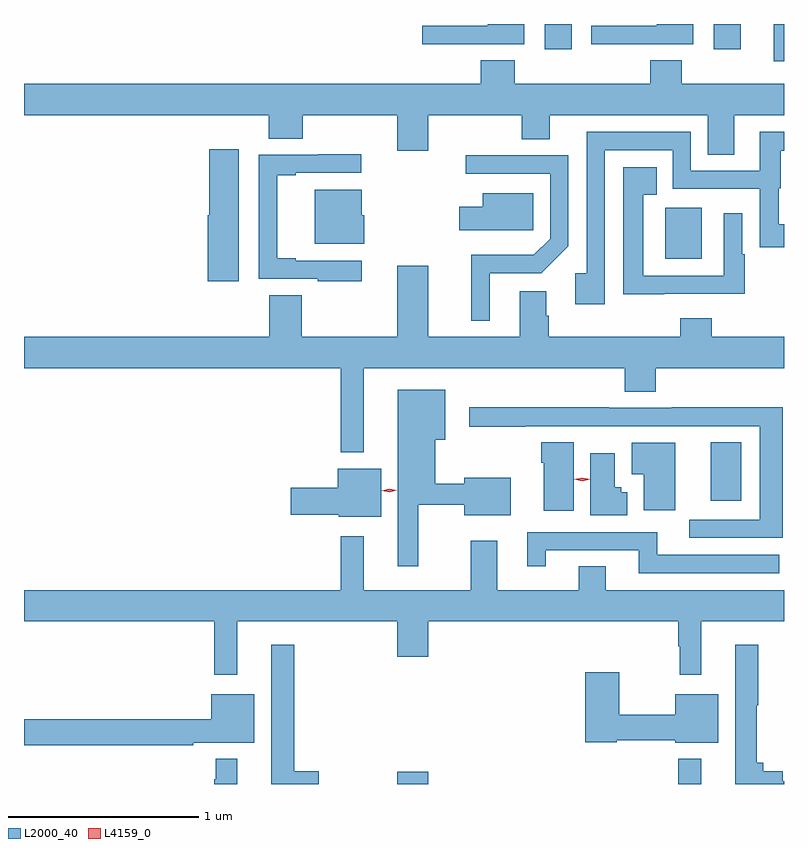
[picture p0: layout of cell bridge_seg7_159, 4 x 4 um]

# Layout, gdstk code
import gdstk
lib = gdstk.Library(unit=1e-6, precision=1e-09)
def R(c, l, rs):  # rectangles x0, y0, x1, y1
    for r in rs: c.add(gdstk.rectangle(r[:2], r[2:], *l))
def P(c, l, *ps):  # polygons
    for p in ps: c.add(gdstk.Polygon(p, *l))
L2000_40 = (2000, 40)
L4159_0 = (4159, 0)

bridge_seg7_159 = lib.new_cell('bridge_seg7_159')
R(bridge_seg7_159, L2000_40, [(476.696,1074.351,476.86,1074.415), (478.176,1074.351,478.297,1074.484), (478.346,1075.842,478.507,1076.15), (478.106,1077.116,478.3,1077.384), (478.679,1078.155,478.732,1078.351), (477.473,1078.218,477.616,1078.351), (478.361,1078.218,478.504,1078.351)])
P(bridge_seg7_159, L2000_40, [(477.944,1078.245),(478.254,1078.245),(478.254,1078.351),(478.061,1078.351),(478.061,1078.341),(477.717,1078.341),(477.717,1078.244),(477.944,1078.244)],
  [(477.053,1078.245),(477.366,1078.245),(477.366,1078.351),(477.173,1078.351),(477.173,1078.341),(476.829,1078.341),(476.829,1078.244),(477.053,1078.244)],
  [(474.732,1077.872),(476.021,1077.872),(476.021,1077.748),(476.198,1077.748),(476.198,1077.872),(476.696,1077.872),(476.696,1077.684),(476.86,1077.684),(476.86,1077.872),(477.352,1077.872),(477.352,1077.745),(477.499,1077.745),(477.499,1077.872),(478.331,1077.872),(478.331,1077.664),(478.471,1077.664),(478.471,1077.872),(478.732,1077.872),(478.732,1078.036),(478.194,1078.036),(478.194,1078.16),(478.028,1078.16),(478.028,1078.036),(477.314,1078.036),(477.314,1078.16),(477.137,1078.16),(477.137,1078.036),(474.732,1078.036)],
  [(477.789,1077.687),(478.146,1077.687),(478.146,1077.483),(478.605,1077.483),(478.605,1077.177),(478.732,1077.177),(478.732,1077.298),(478.704,1077.298),(478.704,1077.486),(478.714,1077.486),(478.714,1077.685),(478.732,1077.685),(478.732,1077.783),(478.604,1077.783),(478.604,1077.579),(478.242,1077.579),(478.242,1077.783),(477.693,1077.783),(477.693,1077.038),(477.633,1077.038),(477.633,1076.877),(477.789,1076.877)],
  [(475.861,1077.691),(475.706,1077.691),(475.706,1077.345),(475.7,1077.345),(475.7,1076.997),(475.861,1076.997)],
  [(476.509,1077.105),(476.161,1077.105),(476.161,1077.118),(476.066,1077.118),(476.066,1077.555),(476.161,1077.555),(476.161,1077.567),(476.506,1077.567),(476.506,1077.665),(476.281,1077.665),(476.281,1077.663),(475.968,1077.663),(475.968,1077.009),(476.278,1077.009),(476.278,1076.997),(476.509,1076.997)],
  [(477.184,1077.039),(477.454,1077.039),(477.597,1077.182),(477.597,1077.66),(477.057,1077.66),(477.057,1077.564),(477.501,1077.564),(477.501,1077.222),(477.415,1077.136),(477.085,1077.136),(477.085,1076.79),(477.184,1076.79)],
  [(478.103,1076.931),(478.525,1076.931),(478.525,1077.138),(478.512,1077.138),(478.512,1077.355),(478.416,1077.355),(478.416,1077.027),(477.991,1077.027),(477.991,1077.452),(478.061,1077.452),(478.061,1077.598),(477.887,1077.598),(477.887,1076.929),(478.103,1076.929)],
  [(476.524,1077.345),(476.509,1077.345),(476.509,1077.478),(476.261,1077.478),(476.261,1077.194),(476.524,1077.194)],
  [(477.411,1077.46),(477.146,1077.46),(477.146,1077.388),(477.024,1077.388),(477.024,1077.266),(477.411,1077.266)],
  [(476.521,1076.54),(477.893,1076.54),(477.893,1076.416),(478.058,1076.416),(478.058,1076.54),(478.732,1076.54),(478.732,1076.704),(478.352,1076.704),(478.352,1076.803),(478.187,1076.803),(478.187,1076.704),(477.494,1076.704),(477.494,1076.816),(477.481,1076.816),(477.481,1076.944),(477.341,1076.944),(477.341,1076.704),(476.86,1076.704),(476.86,1077.079),(476.696,1077.079),(476.696,1076.704),(476.195,1076.704),(476.195,1076.924),(476.024,1076.924),(476.024,1076.704),(474.732,1076.704),(474.732,1076.54),(476.4,1076.54),(476.4,1076.096),(476.521,1076.096)],
  [(476.806,1075.821),(477.05,1075.821),(477.05,1075.766),(477.295,1075.766),(477.295,1075.963),(477.05,1075.963),(477.05,1075.932),(476.896,1075.932),(476.896,1076.162),(476.95,1076.162),(476.95,1076.425),(476.699,1076.425),(476.699,1075.497),(476.806,1075.497)],
  [(478.726,1076.333),(478.141,1076.333),(478.141,1076.331),(477.809,1076.331),(477.809,1076.333),(477.075,1076.333),(477.075,1076.23),(477.371,1076.23),(477.371,1076.235),(478.604,1076.235),(478.604,1075.743),(478.233,1075.743),(478.233,1075.647),(478.726,1075.647)],
  [(477.625,1076.15),(477.455,1076.15),(477.455,1076.042),(477.467,1076.042),(477.467,1075.788),(477.625,1075.788)],
  [(478.159,1076.146),(477.93,1076.146),(477.93,1075.981),(477.995,1075.981),(477.995,1075.791),(478.159,1075.791)],
  [(477.907,1075.886),(477.876,1075.886),(477.876,1075.914),(477.841,1075.914),(477.841,1076.092),(477.713,1076.092),(477.713,1075.766),(477.907,1075.766)],
  [(476.611,1076.011),(476.384,1076.011),(476.384,1075.91),(476.136,1075.91),(476.136,1075.768),(476.388,1075.768),(476.388,1075.757),(476.611,1075.757)],
  [(478.708,1075.557),(478.066,1075.557),(478.066,1075.677),(477.38,1075.677),(477.38,1075.497),(477.478,1075.497),(477.478,1075.581),(477.968,1075.581),(477.968,1075.461),(478.708,1075.461)],
  [(475.855,1075.208),(476.696,1075.208),(476.696,1075.02),(476.86,1075.02),(476.86,1075.208),(478.176,1075.208),(478.176,1075.076),(478.183,1075.076),(478.183,1074.927),(478.297,1074.927),(478.297,1075.208),(478.732,1075.208),(478.732,1075.372),(477.793,1075.372),(477.793,1075.496),(477.653,1075.496),(477.653,1075.372),(477.223,1075.372),(477.223,1075.63),(477.083,1075.63),(477.083,1075.372),(476.521,1075.372),(476.521,1075.654),(476.4,1075.654),(476.4,1075.372),(474.732,1075.372),(474.732,1075.208),(475.734,1075.208),(475.734,1074.927),(475.855,1074.927)],
  [(476.284,1074.418),(476.155,1074.418),(476.155,1075.084),(476.033,1075.084),(476.033,1074.351),(476.284,1074.351)],
  [(478.732,1074.365),(478.726,1074.365),(478.726,1074.418),(478.622,1074.418),(478.622,1074.463),(478.589,1074.463),(478.589,1074.765),(478.597,1074.765),(478.597,1075.084),(478.475,1075.084),(478.475,1074.351),(478.732,1074.351)],
  [(478.387,1074.823),(478.16,1074.823),(478.16,1074.716),(477.864,1074.716),(477.864,1074.94),(477.686,1074.94),(477.686,1074.572),(477.852,1074.572),(477.852,1074.58),(478.16,1074.58),(478.16,1074.569),(478.387,1074.569)],
  [(475.622,1074.569),(475.945,1074.569),(475.945,1074.823),(475.718,1074.823),(475.718,1074.692),(474.732,1074.692),(474.732,1074.556),(475.622,1074.556)],
  [(475.855,1074.484),(475.74,1074.484),(475.74,1074.377),(475.734,1074.377),(475.734,1074.351),(475.855,1074.351)])
P(bridge_seg7_159, L4159_0, [(477.671,1075.944),(477.629,1075.954),(477.629,1075.954),(477.629,1075.955),(477.671,1075.964),(477.712,1075.955),(477.712,1075.954),(477.712,1075.954)],
  [(476.656,1075.886),(476.616,1075.895),(476.616,1075.895),(476.616,1075.895),(476.655,1075.906),(476.695,1075.896),(476.695,1075.896),(476.695,1075.896)])

lib.write_gds('bridge_seg7_159.gds')
